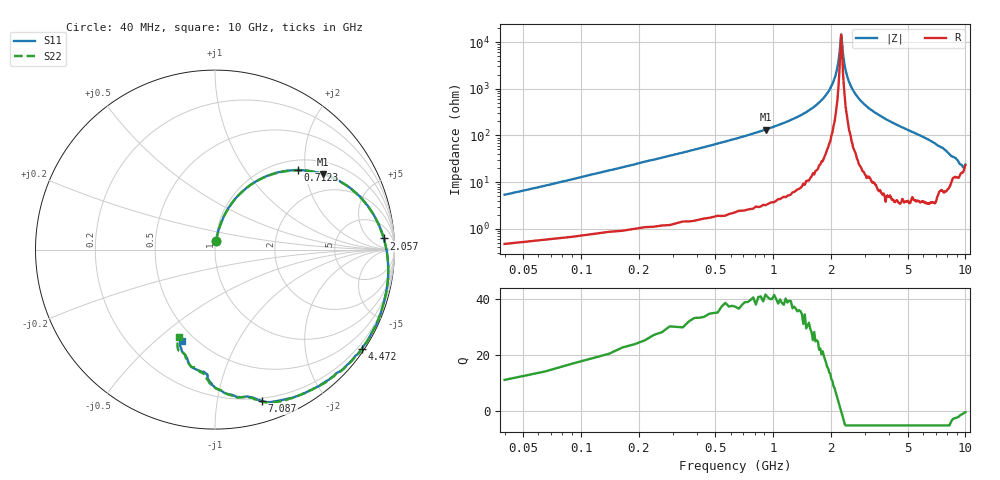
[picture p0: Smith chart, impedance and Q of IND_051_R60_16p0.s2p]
! Thu 7/20/2006 1:35:10 PM
! MODELITIHCS, INC.
# Hz S MA R 50
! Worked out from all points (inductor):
!   401 points, 40 MHz to 10 GHz, reference 50 ohm
!   read as 1/Y11, port 2 shorted: L = 20.3 nH near 89.8 MHz
!   highest Q = 40.7 at 911.5 MHz (marker M1), where L = 23.3 nH
!   self-resonance near 2.256 GHz
!   S11 on the Smith chart (normalised r, x): 40 MHz: 1.01, +0.10; 712.3 MHz: 1.21, +1.83; 2.057 GHz: 15, +17; 4.472 GHz: 0.08, -3.28; 7.087 GHz: 0.17, -1.34; 10 GHz: 0.43, -0.61
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4e7  0.05017 81.1  0.9941 -3.2  0.9939 -3.2  0.04983 81.7
1.396e8  0.1645 76.4  0.9784 -10.4  0.978 -10.4  0.1644 76.8
2.641e8  0.2968 68.7  0.9445 -19.1  0.9443 -19.1  0.2968 68.7
4.633e8  0.4762 56.7  0.8659 -31.6  0.8655 -31.7  0.476 56.5
7.123e8  0.6408 43.8  0.7526 -44.8  0.7517 -44.8  0.6407 43.6
9.115e8  0.7339 35.1  0.6635 -53.5  0.6635 -53.7  0.7338 35.1
1.7083e9  0.9111 11.3  0.3936 -77.6  0.3933 -77.8  0.9109 11.1
2.0569e9  0.9425 3.8  0.3117 -85.0  0.3113 -85.2  0.9429 3.6
3.3766e9  0.9858 -18.3  0.09652 -105.4  0.09655 -105.5  0.9865 -18.5
3.8497e9  0.992 -25.2  0.03838 -105.5  0.03832 -105.5  0.9929 -25.4
3.9742e9  0.989 -26.9  0.02386 -100.4  0.02387 -100.5  0.9895 -27.1
4.1485e9  0.9893 -29.3  0.007875 -48.9  0.007852 -48.7  0.9905 -29.5
4.1983e9  0.9887 -30.0  0.008201 -6.8  0.008215 -6.9  0.9894 -30.3
4.3477e9  0.9878 -32.2  0.02225 35.5  0.02228 35.4  0.9884 -32.4
4.4722e9  0.9871 -33.9  0.03569 41.7  0.03558 41.6  0.9879 -34.1
4.6714e9  0.9822 -36.9  0.05901 42.7  0.05883 42.5  0.9831 -37.0
5.02e9  0.9757 -41.6  0.09668 40.5  0.09646 40.4  0.9771 -41.8
5.767e9  0.9563 -51.9  0.1802 31.5  0.1799 31.5  0.9579 -52.0
6.6883e9  0.9178 -65.7  0.2905 18.1  0.2901 18.1  0.9218 -65.8
7.0867e9  0.8837 -72.7  0.3513 10.3  0.3512 10.2  0.8856 -73.1
8.3566e9  0.7418 -91.9  0.4974 -15.1  0.4971 -15.3  0.7404 -92.6
1e10  0.5413 -109.9  0.6334 -48.5  0.6334 -48.6  0.5262 -112.4
